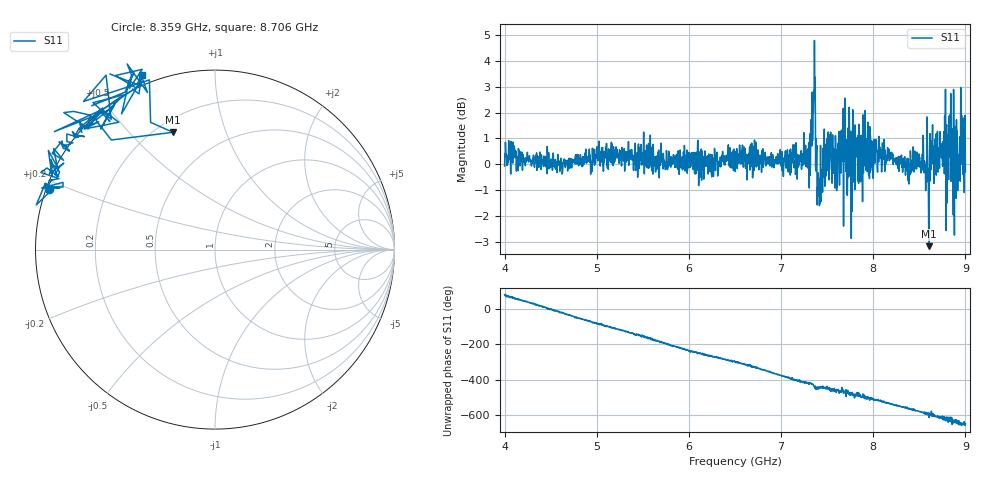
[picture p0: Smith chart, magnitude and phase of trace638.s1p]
! Created with skrf 1.8.0 (http://scikit-rf.org).
# Hz S RI R 50.0
!freq ReS11 ImS11
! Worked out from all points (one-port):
!   1601 points, 4 GHz to 9 GHz, reference 50 ohm
!   lowest |S11| = -3.2 dB at 8.603 GHz (marker M1), VSWR 5.54, Z = 13.3 + j33.5 ohm
!   |S11| at or under -10 dB: nowhere
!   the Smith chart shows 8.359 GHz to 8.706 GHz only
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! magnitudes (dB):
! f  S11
! 4 GHz  -0.1
! 4.094 GHz  0.4
! 4.625 GHz  -0.4
! 5.25 GHz  0.2
! 5.875 GHz  0.1
! 6.5 GHz  0.5
! 7.125 GHz  0.4
! 7.294 GHz  -0.2
! 7.319 GHz  0.0
! 7.347 GHz  2.6
! 7.372 GHz  2.2
! 7.4 GHz  -1.2
! 7.416 GHz  -1.6
! 7.516 GHz  0.1
! 7.591 GHz  1.1
! 7.675 GHz  0.7
! 7.75 GHz  0.0
! 7.922 GHz  -0.2
! 7.981 GHz  -0.1
! 8.047 GHz  -0.3
! 8.375 GHz  -0.2
! 8.522 GHz  0.1
! 8.603 GHz  -3.2
! 8.656 GHz  0.5
! 8.822 GHz  1.9
! 8.875 GHz  0.4
! 8.972 GHz  0.4
! 9 GHz  -0.3
